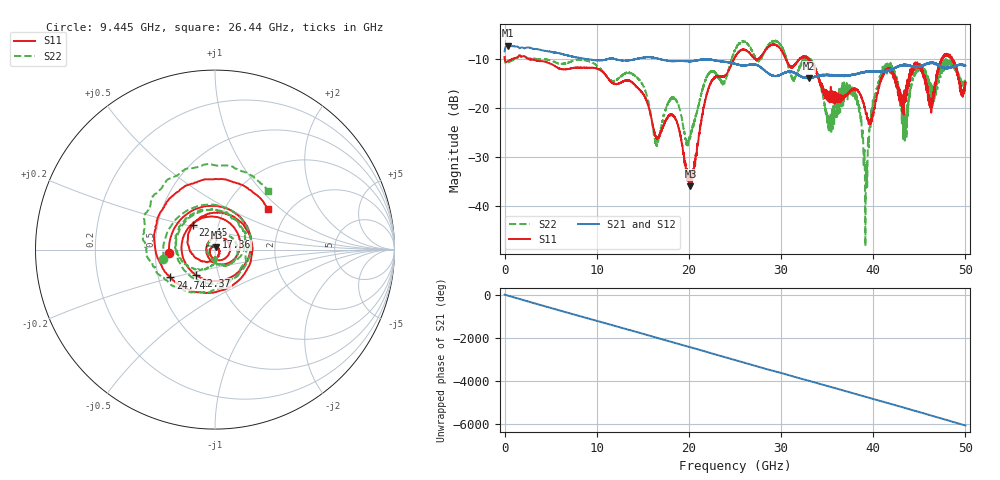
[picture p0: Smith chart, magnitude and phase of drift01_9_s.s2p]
!Created with skrf (http://scikit-rf.org).
# Hz S RI R 50.0
!freq ReS11 ImS11 ReS21 ImS21 ReS12 ImS12 ReS22 ImS22
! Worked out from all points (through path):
!   10001 points, 300 kHz to 50 GHz, reference 50 ohm
!   highest |S21| = -7.33 dB at 325.3 MHz (marker M1); lowest = -14.0 dB at 33.02 GHz (marker M2)
!   group delay of S21, straight-line fit = 335 ps
!   lowest |S11| = -35.9 dB at 20.17 GHz (marker M3), VSWR 1.03, Z = 50.8 + j1.41 ohm
!   |S11| at or under -10 dB: 2.565 GHz to 24.91 GHz (22.35 GHz wide, 163 % of centre); 30.5 GHz to 32.02 GHz (1.517 GHz wide, 4.85 % of centre); 33.05 GHz to 47.41 GHz (14.37 GHz wide, 35.7 % of centre) (the widest 3 of 19)
!   |S22| runs from -48.2 to -6.2 dB; largest |S21 - S12| = 0.0077
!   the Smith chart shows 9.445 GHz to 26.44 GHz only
!   S11 on the Smith chart (normalised r, x): 9.445 GHz: 0.59, -0.02; 12.37 GHz: 0.78, -0.23; 17.36 GHz: 1.01, +0.14; 22.45 GHz: 0.75, +0.22; 24.74 GHz: 0.58, -0.20; 26.44 GHz: 1.59, +0.83
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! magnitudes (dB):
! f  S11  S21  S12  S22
! 300 kHz  -9.6  -8.5  -8.5  -9.5
! 325.3 MHz  -10.5  -7.3  -7.3  -10.9
! 8.335 GHz  -11.8  -9.9  -9.9  -10.2
! 9.445 GHz  -11.8  -10.2  -10.2  -10.7
! 12.37 GHz  -15.0  -10.2  -10.2  -14.0
! 16.67 GHz  -26.2  -10.0  -10.0  -27.1
! 17.36 GHz  -23.1  -10.3  -10.3  -21.0
! 20.17 GHz  -35.9  -10.5  -10.5  -25.8
! 22.45 GHz  -14.6  -10.2  -10.2  -12.6
! 24.74 GHz  -10.7  -10.9  -10.9  -9.4
! 25 GHz  -9.7  -11.0  -11.0  -8.4
! 26.44 GHz  -8.6  -11.2  -11.2  -7.1
! 33.02 GHz  -10.0  -14.0  -13.8  -10.3
! 33.34 GHz  -10.8  -13.8  -13.8  -10.5
! 35.23 GHz  -17.3  -13.3  -13.2  -22.9
! 37.99 GHz  -16.1  -13.2  -13.2  -17.1
! 39.17 GHz  -20.8  -12.7  -12.7  -42.8
! 40.16 GHz  -20.1  -12.6  -12.5  -17.6
! 41.67 GHz  -12.2  -12.3  -12.4  -11.6
! 43.39 GHz  -17.2  -11.3  -11.2  -25.4
! 44.83 GHz  -11.5  -11.6  -11.5  -12.4
! 50 GHz  -15.1  -11.4  -11.4  -14.8
